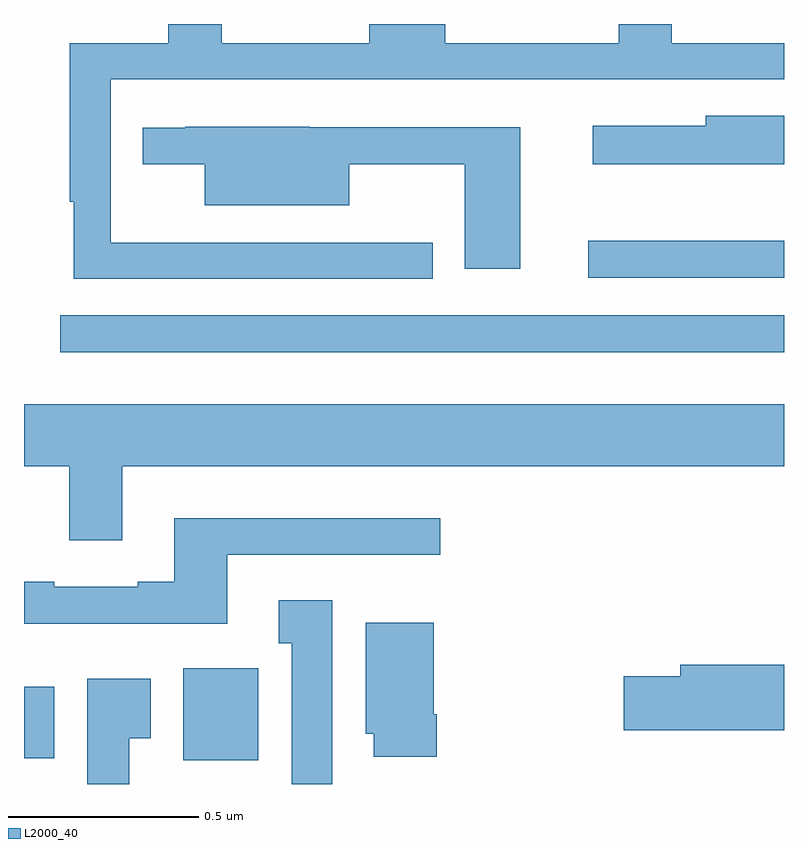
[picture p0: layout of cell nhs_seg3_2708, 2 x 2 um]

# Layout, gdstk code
import gdstk
lib = gdstk.Library(unit=1e-6, precision=1e-09)
def R(c, l, rs):  # rectangles x0, y0, x1, y1
    for r in rs: c.add(gdstk.rectangle(r[:2], r[2:], *l))
def P(c, l, *ps):  # polygons
    for p in ps: c.add(gdstk.Polygon(p, *l))
L2000_40 = (2000, 40)

nhs_seg3_2708 = lib.new_cell('nhs_seg3_2708')
R(nhs_seg3_2708, L2000_40, [(144.419,713.462,144.616,713.704), (144,713.468,144.079,713.656), (144.096,714.536,146,714.633), (145.485,714.732,146,714.83)])
P(nhs_seg3_2708, L2000_40, [(145.075,714.825),(144.228,714.825),(144.228,715.254),(146,715.254),(146,715.35),(145.705,715.35),(145.705,715.4),(145.565,715.4),(145.565,715.35),(145.108,715.35),(145.108,715.4),(144.908,715.4),(144.908,715.35),(144.52,715.35),(144.52,715.4),(144.38,715.4),(144.38,715.35),(144.12,715.35),(144.12,714.932),(144.131,714.932),(144.131,714.729),(145.075,714.729)],
  [(146,715.159),(145.794,715.159),(145.794,715.132),(145.497,715.132),(145.497,715.031),(146,715.031)],
  [(145.306,715.128),(144.752,715.128),(144.752,715.129),(144.424,715.129),(144.424,715.127),(144.313,715.127),(144.313,715.031),(144.476,715.031),(144.476,714.923),(144.856,714.923),(144.856,715.031),(145.16,715.031),(145.16,714.756),(145.306,714.756)],
  [(144.259,714.236),(146,714.236),(146,714.4),(144,714.4),(144,714.236),(144.119,714.236),(144.119,714.042),(144.259,714.042)],
  [(144.535,714.003),(145.096,714.003),(145.096,714.1),(144.395,714.1),(144.395,713.932),(144.299,713.932),(144.299,713.919),(144.079,713.919),(144.079,713.932),(144,713.932),(144,713.822),(144.535,713.822)],
  [(144.811,713.884),(144.671,713.884),(144.671,713.771),(144.704,713.771),(144.704,713.4),(144.811,713.4)],
  [(145.086,713.584),(145.078,713.584),(145.078,713.824),(144.899,713.824),(144.899,713.532),(144.92,713.532),(144.92,713.472),(145.086,713.472)],
  [(146,713.714),(145.727,713.714),(145.727,713.684),(145.578,713.684),(145.578,713.542),(146,713.542)],
  [(144.277,713.521),(144.334,713.521),(144.334,713.677),(144.167,713.677),(144.167,713.4),(144.277,713.4)])

lib.write_gds('nhs_seg3_2708.gds')
